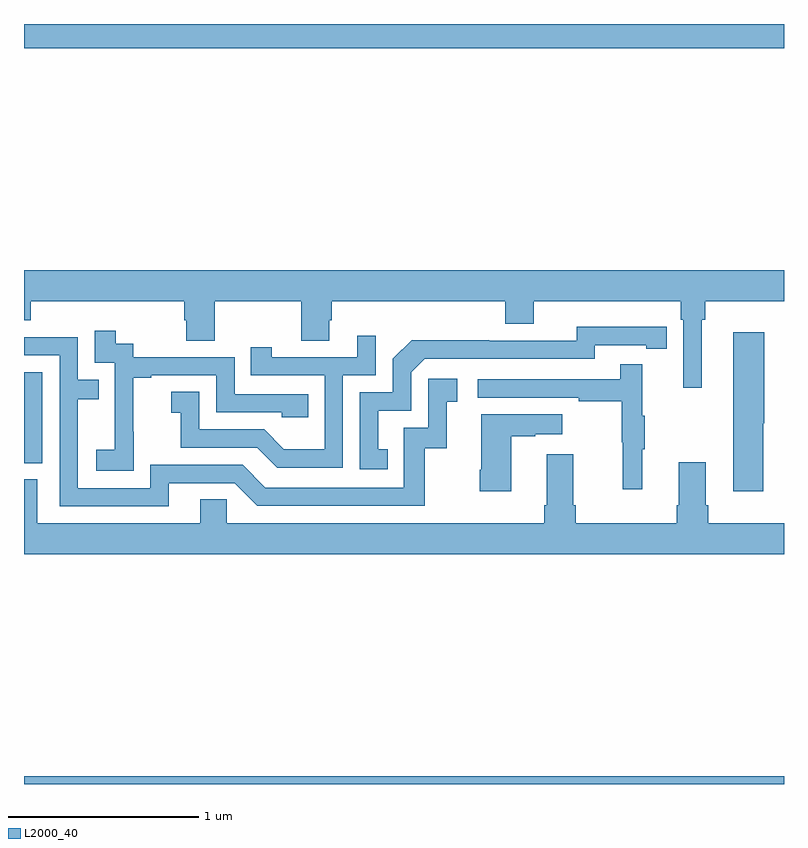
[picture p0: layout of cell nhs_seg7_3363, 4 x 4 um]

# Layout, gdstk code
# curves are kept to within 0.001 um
import gdstk
lib = gdstk.Library(unit=1e-6, precision=1e-09)
def R(c, l, rs):  # rectangles x0, y0, x1, y1
    for r in rs: c.add(gdstk.rectangle(r[:2], r[2:], *l))
def P(c, l, *ps):  # polygons
    for p in ps: c.add(gdstk.Polygon(p, *l))
L2000_40 = (2000, 40)

nhs_seg7_3363 = lib.new_cell('nhs_seg7_3363')
R(nhs_seg7_3363, L2000_40, [(323,1074,327,1074.04), (323,1077.872,327,1078)])
P(nhs_seg7_3363, L2000_40, [(326.566,1076.444),(326.585,1076.444),(326.585,1076.54),(327,1076.54),(327,1076.704),(323,1076.704),(323,1076.441),(323.036,1076.441),(323.036,1076.54),(323.843,1076.54),(323.843,1076.442),(323.855,1076.442),(323.855,1076.332),(324.003,1076.332),(324.003,1076.54),(324.46,1076.54),(324.46,1076.332),(324.607,1076.332),(324.607,1076.442),(324.62,1076.442),(324.62,1076.54),(325.532,1076.54),(325.532,1076.423),(325.684,1076.423),(325.684,1076.54),(326.456,1076.54),(326.456,1076.444),(326.469,1076.444),(326.469,1076.085),(326.566,1076.085)],
  [(324.914,1075.761),(324.865,1075.761),(324.865,1075.965),(325.038,1075.965),(325.038,1076.166),(325.11,1076.238),(326.004,1076.238),(326.004,1076.31),(326.276,1076.31),(326.276,1076.29),(326.384,1076.29),(326.384,1076.406),(325.908,1076.407),(325.908,1076.334),(325.448,1076.334),(325.448,1076.336),(325.04,1076.336),(324.942,1076.238),(324.942,1076.061),(324.768,1076.061),(324.768,1075.656),(324.914,1075.656)],
  [(323.577,1075.855),(323.576,1075.855),(323.576,1076.139),(323.671,1076.139),(323.671,1076.151),(324.012,1076.151),(324.012,1075.956),(324.357,1075.956),(324.357,1075.929),(324.497,1075.929),(324.497,1076.052),(324.108,1076.052),(324.108,1076.247),(323.574,1076.247),(323.574,1076.316),(323.482,1076.316),(323.482,1076.386),(323.373,1076.386),(323.373,1076.217),(323.478,1076.217),(323.478,1075.988),(323.477,1075.988),(323.477,1075.759),(323.379,1075.759),(323.379,1075.649),(323.577,1075.649)],
  [(326.891,1075.899),(326.896,1075.899),(326.896,1076.377),(326.732,1076.377),(326.732,1075.542),(326.891,1075.542)],
  [(324.678,1076.151),(324.852,1076.151),(324.852,1076.359),(324.755,1076.359),(324.755,1076.247),(324.304,1076.247),(324.304,1076.299),(324.193,1076.299),(324.193,1076.151),(324.582,1076.151),(324.582,1075.762),(324.368,1075.762),(324.264,1075.866),(323.922,1075.866),(323.922,1076.065),(323.775,1076.065),(323.775,1075.955),(323.824,1075.955),(323.824,1075.77),(324.227,1075.77),(324.332,1075.665),(324.678,1075.665)],
  [(323.761,1075.584),(324.108,1075.584),(324.228,1075.464),(325.108,1075.464),(325.108,1075.767),(325.226,1075.767),(325.226,1076.013),(325.279,1076.013),(325.279,1076.134),(325.128,1076.134),(325.128,1075.875),(324.999,1075.875),(324.999,1075.56),(324.27,1075.56),(324.15,1075.68),(323.664,1075.68),(323.664,1075.557),(323.283,1075.557),(323.283,1076.026),(323.393,1076.026),(323.393,1076.127),(323.283,1076.127),(323.283,1076.352),(323,1076.352),(323,1076.256),(323.187,1076.256),(323.187,1075.461),(323.761,1075.461)],
  [(326.255,1075.763),(326.266,1075.763),(326.266,1075.937),(326.255,1075.937),(326.255,1076.209),(326.137,1076.209),(326.137,1076.13),(325.389,1076.13),(325.389,1076.034),(325.921,1076.034),(325.921,1076.014),(326.145,1076.014),(326.145,1075.8),(326.152,1075.8),(326.152,1075.551),(326.255,1075.551)],
  [(323.097,1076.166),(323,1076.166),(323,1076.07),(323.001,1076.07),(323.001,1075.785),(323,1075.785),(323,1075.689),(323.097,1075.689)],
  [(325.564,1075.831),(325.691,1075.831),(325.691,1075.841),(325.834,1075.841),(325.834,1075.945),(325.406,1075.945),(325.406,1075.654),(325.399,1075.654),(325.399,1075.542),(325.564,1075.542)],
  [(327,1075.372),(326.6,1075.372),(326.6,1075.468),(326.587,1075.468),(326.587,1075.693),(326.447,1075.693),(326.447,1075.468),(326.435,1075.468),(326.435,1075.372),(325.904,1075.372),(325.904,1075.468),(325.891,1075.468),(325.891,1075.735),(325.751,1075.735),(325.751,1075.468),(325.739,1075.468),(325.739,1075.372),(324.066,1075.372),(324.066,1075.499),(323.927,1075.499),(323.927,1075.372),(323.071,1075.372),(323.071,1075.604),(323,1075.604),(323,1075.208),(327,1075.208)])

lib.write_gds('nhs_seg7_3363.gds')
